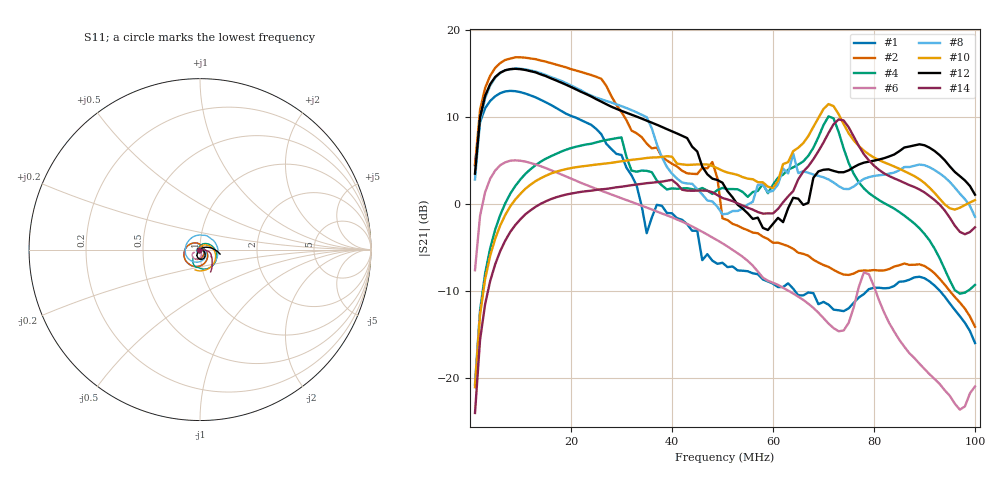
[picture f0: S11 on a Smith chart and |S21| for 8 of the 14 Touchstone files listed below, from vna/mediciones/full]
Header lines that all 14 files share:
# HZ S RI R 50
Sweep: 1 MHz to 100 MHz
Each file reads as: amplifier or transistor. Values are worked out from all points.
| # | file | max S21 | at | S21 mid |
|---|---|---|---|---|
| 1 | t1__bga__fca12v__led18__sfh203__ltc__bga.s2p | 13.0 dB | 8 MHz | -7.3 dB at 51 MHz |
| 2 | t1__bga__fca12v__led21__sfh203__ltc__bga.s2p | 16.9 dB | 9 MHz | -1.9 dB at 51 MHz |
| 3 | t1__bga__fca12v__led23__sfh203__ltc__bga.s2p | 17.1 dB | 10 MHz | -0.9 dB at 51 MHz |
| 4 | t1__bga__t2__fca12v__led21__sfh203__ltc__bga.s2p | 10.1 dB | 71 MHz | 1.7 dB at 51 MHz |
| 5 | t1__bga__t3__fca12v__led21__sfh203__ltc__bga.s2p | 9.0 dB | 71 MHz | 0.1 dB at 51 MHz |
| 6 | t1__fca12v__led21__sfh203__ltc__bga.s2p | 5.0 dB | 9 MHz | -4.9 dB at 51 MHz |
| 7 | t2__bga__fca12v__led18__sfh203__ltc__bga.s2p | 10.5 dB | 7 MHz | -8.7 dB at 51 MHz |
| 8 | t2__bga__fca12v__led21__sfh203__ltc__bga.s2p | 15.6 dB | 9 MHz | -1.1 dB at 51 MHz |
| 9 | t2__bga__fca12v__led23__sfh203__ltc__bga.s2p | 16.0 dB | 11 MHz | 1.0 dB at 51 MHz |
| 10 | t2__bga__t3__fca12v__led21__sfh203__ltc__bga.s2p | 11.5 dB | 71 MHz | 3.6 dB at 51 MHz |
| 11 | t3__bga__fca12v__led18__sfh203__ltc__bga.s2p | 10.6 dB | 7 MHz | -6.8 dB at 51 MHz |
| 12 | t3__bga__fca12v__led21__sfh203__ltc__bga.s2p | 15.5 dB | 9 MHz | 1.5 dB at 51 MHz |
| 13 | t3__bga__fca12v__led23__sfh203__ltc__bga.s2p | 15.9 dB | 10 MHz | 2.9 dB at 51 MHz |
| 14 | t3__bga__t2__fca12v__led21__sfh203__ltc__bga.s2p | 9.7 dB | 73 MHz | 0.5 dB at 51 MHz |
